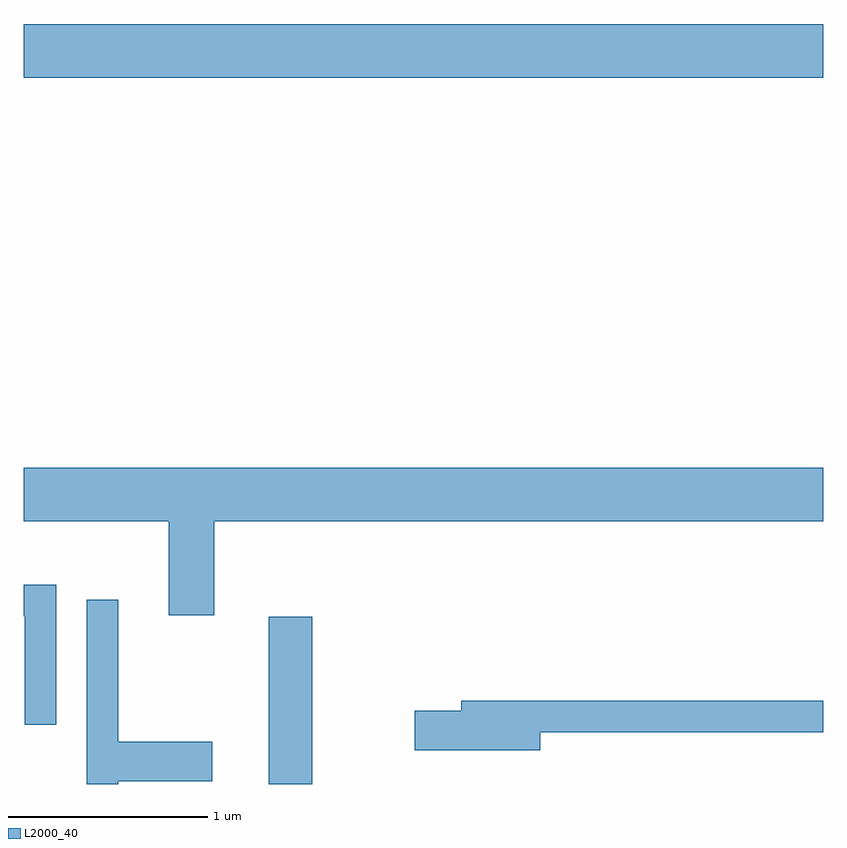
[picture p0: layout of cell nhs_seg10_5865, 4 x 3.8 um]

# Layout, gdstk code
import gdstk
lib = gdstk.Library(unit=1e-6, precision=1e-09)
def R(c, l, rs):  # rectangles x0, y0, x1, y1
    for r in rs: c.add(gdstk.rectangle(r[:2], r[2:], *l))
def P(c, l, *ps):  # polygons
    for p in ps: c.add(gdstk.Polygon(p, *l))
L2000_40 = (2000, 40)

nhs_seg10_5865 = lib.new_cell('nhs_seg10_5865')
R(nhs_seg10_5865, L2000_40, [(358.836,2192.522,359.054,2193.359), (357.611,2196.056,361.611,2196.324)])
P(nhs_seg10_5865, L2000_40, [(358.564,2193.836),(361.611,2193.836),(361.611,2194.104),(357.611,2194.104),(357.611,2193.836),(358.336,2193.836),(358.336,2193.366),(358.564,2193.366)],
  [(357.774,2193.519),(357.611,2193.519),(357.611,2193.361),(357.616,2193.361),(357.616,2192.818),(357.774,2192.818)],
  [(358.084,2192.536),(358.554,2192.536),(358.554,2192.734),(358.084,2192.734),(358.084,2193.443),(357.926,2193.443),(357.926,2192.522),(358.084,2192.522)],
  [(360.194,2192.781),(361.611,2192.781),(361.611,2192.939),(359.801,2192.939),(359.801,2192.889),(359.566,2192.889),(359.566,2192.691),(360.194,2192.691)])

lib.write_gds('nhs_seg10_5865.gds')
